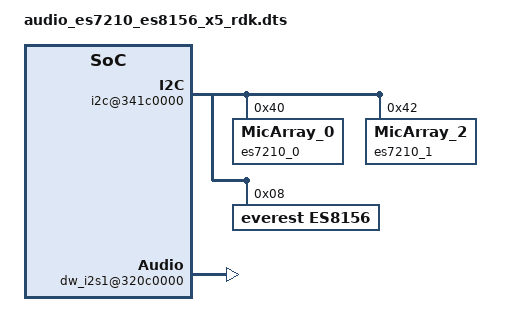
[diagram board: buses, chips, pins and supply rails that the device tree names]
/dts-v1/;
/plugin/;

/ {
  fragment@0 {
    target-path = "/soc/a55_apb0/i2c@341c0000";
    __overlay__ {
      #address-cells = <1>;
			#size-cells = <0>;

      es7210_0: es7210_0@40 {
        compatible = "MicArray_0";
        reg = <0x40>;
        #sound-dai-cells = <1>;
        channels = <8>;
        adc_dev_num = <2>;
        status = "okay";
      };

      es7210_1@42 {
        compatible = "MicArray_2";
        reg = <0x42>;
        channels = <8>;
        adc_dev_num = <2>;
      };

      es8156: es8156@8 {
        compatible = "everest,es8156";
        reg = <0x8>;
        #sound-dai-cells = <0>;
        status = "okay";
      };
    };
  };
  fragment@1 {
    target-path = "/soc/dsp_apb/dw_i2s1@320c0000";
    __overlay__ {
      status = "okay";
      dwc-master = <1>;
      #sound-dai-cells = <1>;
    };
  };
  fragment@2 {
    target-path = "/hobot_sound_machine";
    __overlay__ {
      status = "okay";
      #address-cells = <1>;
      #size-cells = <0>;
      simple-audio-card,name = "duplex-audio-i2s1";

      simple-audio-card,dai-link@0 {
        link-name = "dai-link0";
        reg = <1>;
        format = "dsp_a";
        mclk-fs = <64>;
        bitclock-master = <&snd1_mm>;
        frame-master = <&snd1_mm>;
        snd1_mm: cpu {
          sound-dai = <&dw_i2s1 1>;
        };
        codec {
          sound-dai = <&es7210_0 0>;
        };
      };
      simple-audio-card,dai-link@1 {
        link-name = "dai-link1";
        reg = <1>;
        format = "dsp_a";
        mclk-fs = <64>;
        bitclock-master = <&snd1_m>;
        frame-master = <&snd1_m>;
        snd1_m: cpu {
          sound-dai = <&dw_i2s1 1>;
        };
        codec {
          sound-dai = <&es8156>;
        };
      };
    };
  };
};


